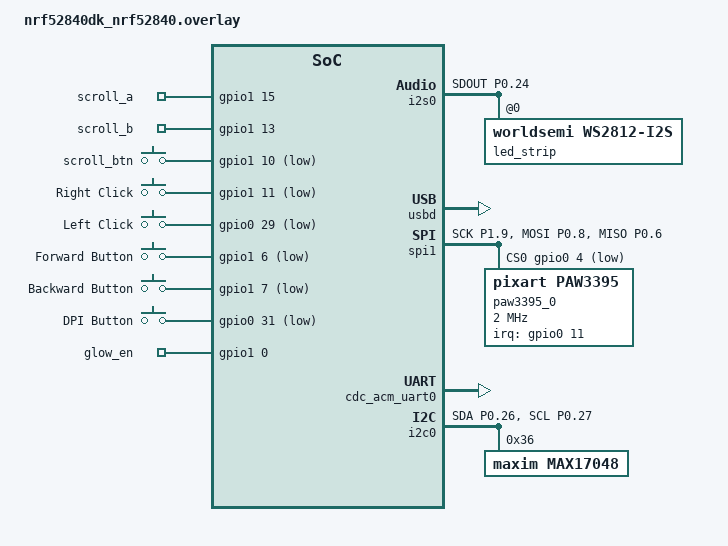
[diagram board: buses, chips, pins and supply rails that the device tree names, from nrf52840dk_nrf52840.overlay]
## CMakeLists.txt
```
# SPDX-License-Identifier: Apache-2.0

cmake_minimum_required(VERSION 3.20.0)

list(APPEND EXTRA_ZEPHYR_MODULES
  ${CMAKE_CURRENT_SOURCE_DIR}/../paw3395
)

find_package(Zephyr REQUIRED HINTS $ENV{ZEPHYR_BASE})
project(mouseg)

FILE(GLOB app_sources src/*.c)
target_sources(app PRIVATE
  ${app_sources}
  )

list(APPEND EXTRA_ZEPHYR_MODULES ${CMAKE_CURRENT_SOURCE_DIR}/paw3395 )
```

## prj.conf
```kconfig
CONFIG_FLASH=y
CONFIG_FLASH_PAGE_LAYOUT=y
CONFIG_FLASH_MAP=y
CONFIG_NVS=y
CONFIG_SETTINGS=y

CONFIG_SPI=y
CONFIG_SENSOR=y
CONFIG_PAW3395=y

# Debugging & logging
CONFIG_DEBUG=y
CONFIG_DEBUG_INFO=y
CONFIG_DEBUG_THREAD_INFO=y
CONFIG_RESET_ON_FATAL_ERROR=n
CONFIG_LOG=y
CONFIG_LOG_MODE_DEFERRED=y
CONFIG_LOG_DEFAULT_LEVEL=3
CONFIG_GPIO=y

CONFIG_SERIAL=y
CONFIG_CONSOLE=y
CONFIG_LED_STRIP=y

# ===== UNCOMMENT BELOW CONFIG FOR UF2 =====
# CONFIG_BUILD_OUTPUT_UF2=y
# CONFIG_BUILD_OUTPUT_UF2_FAMILY_ID="0xADA52840"
# CONFIG_ROM_START_OFFSET=0x1000

# Fuel Gauge Battery %
CONFIG_FUEL_GAUGE=y
CONFIG_I2C=y
CONFIG_MAX17048=y

# USB HID
CONFIG_USB_DEVICE_STACK=y
CONFIG_USB_DEVICE_HID=y
CONFIG_USB_DEVICE_PRODUCT="W Mouse USB"
CONFIG_USB_DEVICE_PID=0x0007
CONFIG_USB_DEVICE_INITIALIZE_AT_BOOT=n

# Enable composite device
CONFIG_USB_COMPOSITE_DEVICE=y


# BT general configuration
CONFIG_BT=y
# CONFIG_BT_LL_SW_SPLIT=y
# CONFIG_BT_DEBUG_LOG=n
CONFIG_BT_KEYS_OVERWRITE_OLDEST=y
CONFIG_BT_SMP_ALLOW_UNAUTH_OVERWRITE=y
CONFIG_BT_GATT_SERVICE_CHANGED=n
CONFIG_BT_LIM_ADV_TIMEOUT=180
CONFIG_BT_SMP=y
CONFIG_BT_L2CAP_TX_BUF_COUNT=2
CONFIG_BT_PERIPHERAL=y
CONFIG_BT_DEVICE_NAME="W Mouse BLE"
CONFIG_BT_DEVICE_APPEARANCE=962
CONFIG_BT_PERIPHERAL_PREF_MIN_INT=6    
CONFIG_BT_PERIPHERAL_PREF_MAX_INT=7    
CONFIG_BT_PERIPHERAL_PREF_LATENCY=0   
CONFIG_BT_PERIPHERAL_PREF_TIMEOUT=400
CONFIG_BT_GAP_AUTO_UPDATE_CONN_PARAMS=y

# Zephyr BT Services implemented
CONFIG_BT_BAS=y
CONFIG_BT_DIS=y
CONFIG_BT_DIS_PNP=n
CONFIG_BT_DIS_MODEL="W Mouse BLE"
CONFIG_BT_DIS_MANUF="UNBYTES"
CONFIG_BT_DIS_SERIAL_NUMBER=y
CONFIG_BT_DIS_SERIAL_NUMBER_STR="0xEAEAEAEA"

# BT Bonding configuration
CONFIG_BT_SETTINGS=y
CONFIG_BT_BONDABLE=y
CONFIG_BT_SETTINGS_CCC_STORE_ON_WRITE=y
CONFIG_BT_SETTINGS_CCC_LAZY_LOADING=n
```

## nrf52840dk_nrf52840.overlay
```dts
/ {
    aliases {
        scrolla = &scroll_a;
        scrollb = &scroll_b;
        scrollbtn = &scroll_btn;
        ledstrip = &led_strip;
        sw0 = &left_button;
        sw1 = &right_button;
        sw2 = &forward_button; // not connected on the PCB
        sw3 = &backward_button; // not connected on the PCB
        dpi-btn = &dpi_button;
        fuel-gauge0 = &max17048;
        glow-en = &glow_en;
    };

    
    buttons {
        compatible = "gpio-keys";
        status = "okay";
        
        scroll_a: scroll_a {
            gpios = <&gpio1 15 (GPIO_ACTIVE_HIGH | GPIO_PULL_UP)>;
        };
        scroll_b: scroll_b {
            gpios = <&gpio1 13 (GPIO_ACTIVE_HIGH | GPIO_PULL_UP)>;
        };
        scroll_btn: scroll_btn {
            gpios = <&gpio1 10 (GPIO_ACTIVE_LOW | GPIO_PULL_UP)>;
        };
        right_button: right_button {
            gpios = <&gpio1 11 (GPIO_ACTIVE_LOW | GPIO_PULL_UP)>;
            label = "Right Click";
        };
        left_button: left_button {
            gpios = <&gpio0 29 (GPIO_ACTIVE_LOW | GPIO_PULL_UP)>;
            label = "Left Click";
        };
        forward_button: forward_button {
            gpios = <&gpio1 6 (GPIO_ACTIVE_LOW | GPIO_PULL_UP)>;
            label = "Forward Button";
            // this button is not connected on the PCB
        };
        backward_button: backward_button {
            gpios = <&gpio1 7 (GPIO_ACTIVE_LOW | GPIO_PULL_UP)>;
            label = "Backward Button";
            // this button is not connected on the PCB
        };
        dpi_button: dpi_button {
            gpios = <&gpio0 31 (GPIO_ACTIVE_LOW | GPIO_PULL_UP)>;
            label = "DPI Button";
        };
    };    

    output {
        compatible = "gpio-leds";
        status = "okay";

        glow_en: glow_en {
            gpios = <&gpio1 0 GPIO_ACTIVE_HIGH>;
        };
    };

    id_dev_0: hid_dev_0 {
		compatible = "zephyr,hid-device";
		label = "HID0";
		protocol-code = "none";
		in-polling-period-us = <125>;
		in-report-size = <64>;
	};

	chosen {
		zephyr,console = &cdc_acm_uart0;
	};
};

&i2s0 {
    status = "okay";
    pinctrl-0 = <&i2s0_default_alt>;
	pinctrl-names = "default";
    // Additional I2S configuration as needed
    led_strip: ws2812@0 {
        compatible = "worldsemi,ws2812-i2s";
        reg = <0>;
        chain-length = <5>;         
        color-mapping = <1 0 2>;    
        reset-delay = <120>;      
        i2s-dev = <&i2s0>;     
    };
};

&gpio0 {
    status = "okay";
};

&gpio1 {
    status = "okay";
};

&usbd {
    status = "okay";
};

&spi1 {
    compatible = "nordic,nrf-spim";
    status = "okay";
    pinctrl-0 = <&spi1_default>;
    pinctrl-1 = <&spi1_sleep>;
    pinctrl-names = "default", "sleep";
    cs-gpios = <&gpio0 4 GPIO_ACTIVE_LOW>;
    paw3395_0: paw3395@0 {
        compatible = "pixart,paw3395";
        reg = <0>;
        irq-gpios = <&gpio0 11 GPIO_ACTIVE_HIGH>;
        spi-max-frequency = <2000000>;
    };
};

&zephyr_udc0 {
	cdc_acm_uart0: cdc_acm_uart0 {
		compatible = "zephyr,cdc-acm-uart";
	};
};

&i2c0 {
	status = "okay";
	compatible = "nordic,nrf-twim";
	pinctrl-0 = <&i2c0_default>;
	pinctrl-1 = <&i2c0_sleep>;
	pinctrl-names = "default", "sleep";
	max17048:max17048@36 {
		compatible = "maxim,max17048";
		status = "ok";
		reg = <0x36 >;
	};
};

&pinctrl {
    i2s0_default_alt: i2s0_default_alt {
		group1 {
			psels = <NRF_PSEL(I2S_SDOUT, 0, 24)>; // GLOW_LV
		};
	};
	spi1_default: spi1_default {
        group1 {
            psels = <NRF_PSEL(SPIM_SCK, 1, 9)>, 
                    <NRF_PSEL(SPIM_MOSI, 0, 8)>,
                    <NRF_PSEL(SPIM_MISO, 0, 6)>;
            };
    };
    spi1_sleep: spi1_sleep {
        group1 {
            psels = <NRF_PSEL(SPIM_SCK, 1, 9)>,
                    <NRF_PSEL(SPIM_MOSI, 0, 8)>,
                    <NRF_PSEL(SPIM_MISO, 0, 6)>;
            low-power-enable;
        };
    };
	i2c0_default: i2c0_default {
		group1 {
			psels = <NRF_PSEL(TWIM_SDA, 0, 26)>, <NRF_PSEL(TWIM_SCL, 0, 27)>;
		};
	};

	i2c0_sleep: i2c0_sleep {
		group1 {
			psels = <NRF_PSEL(TWIM_SDA, 0, 26)>, <NRF_PSEL(TWIM_SCL, 0, 27)>;
			low-power-enable;
		};
	};
};
```

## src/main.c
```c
#include <zephyr/kernel.h>
#include <zephyr/sys/printk.h>
#include <zephyr/usb/usb_device.h>
#include <zephyr/drivers/uart.h>
#include <math.h>

#include "business_logic.h"

LOG_MODULE_REGISTER(main, LOG_LEVEL_DBG);

BUILD_ASSERT(DT_NODE_HAS_COMPAT(DT_CHOSEN(zephyr_console), zephyr_cdc_acm_uart),
			 "Console device is not ACM CDC UART device");

int usb_console(void)
{
	const struct device *const dev = DEVICE_DT_GET(DT_CHOSEN(zephyr_console));
	uint32_t dtr = 0;

	if (usb_enable(NULL))
	{
		return 0;
	}

	/* Poll if the DTR flag was set */
	while (!dtr)
	{
		uart_line_ctrl_get(dev, UART_LINE_CTRL_DTR, &dtr);
		/* Give CPU resources to low priority threads. */
		k_sleep(K_MSEC(100));
	}

	return 0;
}

int main(void)
{

	polling_init();

	while (1)
	{
		polling_run();
	}

	return 0;
}
```

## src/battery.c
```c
// src/battery.c
#include <zephyr/kernel.h>
#include <zephyr/device.h>
#include <zephyr/devicetree.h>
#include <zephyr/drivers/fuel_gauge.h>
#include <zephyr/logging/log.h>
#include "battery.h"

LOG_MODULE_REGISTER(battery, CONFIG_LOG_DEFAULT_LEVEL);

static const struct device *battery_dev;

int battery_init(void)
{
	battery_dev = DEVICE_DT_GET(DT_ALIAS(fuel_gauge0));

	if (!device_is_ready(battery_dev)) {
		LOG_ERR("Fuel gauge device not ready");
		return -ENODEV;
	}

	LOG_INF("Fuel gauge ready: %s", battery_dev->name);
	return 0;
}

int battery_get_percentage(int *percentage)
{
	if (battery_dev == NULL || !device_is_ready(battery_dev)) {
		return -ENODEV;
	}

	fuel_gauge_prop_t prop = FUEL_GAUGE_RELATIVE_STATE_OF_CHARGE;
	union fuel_gauge_prop_val val;

	int ret = fuel_gauge_get_props(battery_dev, &prop, &val, 1);
	if (ret < 0) {
		LOG_ERR("Failed to read battery voltage: %d", ret);
		return ret;
	}

	*percentage = val.relative_state_of_charge;
	return 0;
}
```

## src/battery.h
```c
// include/battery.h
#ifndef BATTERY_H
#define BATTERY_H

int battery_init(void);
int battery_get_percentage(int *percentage);

#endif // BATTERY_H
```

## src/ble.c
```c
#include <zephyr/types.h>
#include <stddef.h>
#include <string.h>
#include <errno.h>
#include <zephyr/sys/printk.h>
#include <zephyr/sys/byteorder.h>
#include <zephyr/kernel.h>
#include <zephyr/drivers/gpio.h>
#include <soc.h>
#include <assert.h>

#include <zephyr/settings/settings.h>

#include <zephyr/bluetooth/bluetooth.h>
#include <zephyr/bluetooth/hci.h>
#include <zephyr/bluetooth/conn.h>
#include <zephyr/bluetooth/uuid.h>
#include <zephyr/bluetooth/gatt.h>

#include "ble_hids.h"

#define DEVICE_NAME CONFIG_BT_DEVICE_NAME
#define DEVICE_NAME_LEN (sizeof(DEVICE_NAME) - 1)

#define BT_ADV_INT_MIN 48 /* 0.625ms units --> 30ms */
#define BT_ADV_INT_MAX 80 /* 0.625ms units --> 50ms */

/* Advertising Data */
static const struct bt_data ad[] = {

    /* Appearance */
    BT_DATA_BYTES(BT_DATA_GAP_APPEARANCE,
                  (CONFIG_BT_DEVICE_APPEARANCE >> 0) & 0xff,
                  (CONFIG_BT_DEVICE_APPEARANCE >> 8) & 0xff),

    /* Flags */
    BT_DATA_BYTES(BT_DATA_FLAGS, (BT_LE_AD_LIMITED | BT_LE_AD_NO_BREDR)),

    /* List of UUID16 Services Implemented */
    BT_DATA_BYTES(BT_DATA_UUID16_ALL, BT_UUID_16_ENCODE(BT_UUID_HIDS_VAL),
                  BT_UUID_16_ENCODE(BT_UUID_BAS_VAL),
                  BT_UUID_16_ENCODE(BT_UUID_DIS_VAL)),
};

/* Scan Response Data */
static const struct bt_data sd[] = {
    BT_DATA(BT_DATA_NAME_COMPLETE, DEVICE_NAME, DEVICE_NAME_LEN),
};

static struct k_work adv_work;

static bt_addr_le_t bonded_addr;
static bool bonded_addr_present;

static bool dir_adv_timeout;
static bool is_connected;
static int64_t last_advertising_start_ms;

bool ble_is_connected(void)
{
    return is_connected;
}

static void s_bonded_addr_cache(const struct bt_bond_info *info, void *user_data)
{
    memcpy(&bonded_addr, &info->addr, sizeof(bt_addr_le_t));
    bonded_addr_present = true;
}

static void s_advertising_start(void)
{
    /* NOTE: only one paired device is supported, so the function passed as argument is invoked once at most */
    bt_foreach_bond(BT_ID_DEFAULT, s_bonded_addr_cache, NULL);
    k_work_submit(&adv_work);
}

static void s_advertising_exec(void)
{
    int err = 0;
    struct bt_le_adv_param adv_param;

    /* Directed advertising if bonding is present and we did not already timed out */
    if ((bonded_addr_present) && (!dir_adv_timeout))
    {
        char addr_buf[BT_ADDR_LE_STR_LEN];

        adv_param = *BT_LE_ADV_CONN_DIR(&bonded_addr);
        adv_param.options |= BT_LE_ADV_OPT_DIR_ADDR_RPA;

        err = bt_le_adv_start(&adv_param, NULL, 0, NULL, 0);
        if (err)
        {
            printk("Directed advertising failed to start (err %d)\n", err);
            return;
        }

        bt_addr_le_to_str(&bonded_addr, addr_buf, BT_ADDR_LE_STR_LEN);
        printk("Direct advertising to %s started\n", addr_buf);
    }
    /* Regular advertising if no bonding is present */
    else
    {
        adv_param = *BT_LE_ADV_CONN;
        adv_param.interval_min = BT_ADV_INT_MIN;
        adv_param.interval_max = BT_ADV_INT_MAX;
        adv_param.options |= BT_LE_ADV_OPT_ONE_TIME | BT_LE_ADV_OPT_SCANNABLE;

        err = bt_le_adv_start(&adv_param, ad, ARRAY_SIZE(ad), sd, ARRAY_SIZE(sd));
        if (err)
        {
            printk("Advertising failed to start (err %d)\n", err);
            return;
        }

        printk("Regular advertising started\n");
    }

    if (err == 0)
    {
        /* Cache last start of advertising */
        last_advertising_start_ms = k_uptime_get();
    }
}

static void s_advertising_process(struct k_work *work)
{
    s_advertising_exec();
}

static void s_connected(struct bt_conn *conn, uint8_t err)
{
    char addr[BT_ADDR_LE_STR_LEN];

    bt_addr_le_to_str(bt_conn_get_dst(conn), addr, sizeof(addr));

    if (err)
    {
        if (err == BT_HCI_ERR_ADV_TIMEOUT)
        {
            printk("Direct advertising to %s timed out\n", addr);
            dir_adv_timeout = true;
            k_work_submit(&adv_work);
        }
        else
        {
            printk("Failed to connect to %s (%u)\n", addr, err);
        }

        return;
    }

    printk("Connected %s\n", addr);

    is_connected = true;
    dir_adv_timeout = false;
    last_advertising_start_ms = 0;

    /* Inform HID Service */
    ble_hids_connected(conn);
}

static void s_disconnected(struct bt_conn *conn, uint8_t reason)
{
    char addr[BT_ADDR_LE_STR_LEN];

    bt_addr_le_to_str(bt_conn_get_dst(conn), addr, sizeof(addr));

    printk("Disconnected from %s (reason %u)\n", addr, reason);

    /* Inform HID Service */
    ble_hids_disconnected();

    is_connected = false;

    /* Re-start advertising */
    s_advertising_start();
}

static void s_security_changed(struct bt_conn *conn, bt_security_t level,
                               enum bt_security_err err)
{
    char addr[BT_ADDR_LE_STR_LEN];

    bt_addr_le_to_str(bt_conn_get_dst(conn), addr, sizeof(addr));

    if (!err)
    {
        printk("Security changed: %s level %u\n", addr, level);
    }
    else
    {
        printk("Security failed: %s level %u err %d\n", addr, level, err);
    }
}

static void s_conn_params_updated(struct bt_conn *conn, uint16_t interval,
                                  uint16_t latency, uint16_t timeout)
{
    struct bt_conn_info info;
    bt_conn_get_info(conn, &info);

    printk("Conn params updated, interval: %u, latency: %u, timeout: %u\n",
           info.le.interval, info.le.latency, info.le.timeout);
}

BT_CONN_CB_DEFINE(conn_callbacks) = {
    .connected = s_connected,
    .disconnected = s_disconnected,
    .security_changed = s_security_changed,
    .le_param_updated = s_conn_params_updated};

static void s_pairing_complete(struct bt_conn *conn, bool bonded)
{
    char addr[BT_ADDR_LE_STR_LEN];
    bt_addr_le_to_str(bt_conn_get_dst(conn), addr, sizeof(addr));

    printk("Pairing completed: %s, bonded: %d\n", addr, bonded);
}

static void s_pairing_failed(struct bt_conn *conn, enum bt_security_err reason)
{
    char addr[BT_ADDR_LE_STR_LEN];
    bt_addr_le_to_str(bt_conn_get_dst(conn), addr, sizeof(addr));

    printk("Pairing failed conn: %s, reason %d\n", addr, reason);
}

static struct bt_conn_auth_info_cb conn_auth_info_callbacks = {
    .pairing_complete = s_pairing_complete,
    .pairing_failed = s_pairing_failed};

void ble_init(void)
{
    int err;

    printk("Starting ble application\n");

    err = bt_conn_auth_info_cb_register(&conn_auth_info_callbacks);
    if (err)
    {
        printk("Failed to register authorization info callbacks.\n");
        return;
    }

    err = bt_enable(NULL);
    if (err)
    {
        printk("Bluetooth init failed (err %d)\n", err);
        return;
    }

    printk("Bluetooth initialized\n");

    if (IS_ENABLED(CONFIG_SETTINGS))
    {
        settings_load();
    }

    /* Init workqueue item to help during advertising */
    k_work_init(&adv_work, s_advertising_process);

    /* Immediately request advertising to start */
    s_advertising_start();
}
```

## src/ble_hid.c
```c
/* ble_hid.c - advertising resume fixes + existing HID */

#include "ble_hid.h"
#include <zephyr/bluetooth/uuid.h>
#include <zephyr/bluetooth/gatt.h>
#include <string.h>
#include <zephyr/kernel.h>
#include <zephyr/logging/log.h>
#include <zephyr/bluetooth/bluetooth.h>
#include <zephyr/bluetooth/hci.h>
#include <zephyr/settings/settings.h>

LOG_MODULE_REGISTER(ble_hid, LOG_LEVEL_DBG);

#ifndef DEVICE_NAME
#define DEVICE_NAME CONFIG_BT_DEVICE_NAME
#endif

#define DEVICE_NAME_LEN (sizeof(DEVICE_NAME) - 1)

/* HID Report Descriptor (Mouse) */
static const uint8_t hid_report_map[] = {
    0x05, 0x01,  // Usage Page (Generic Desktop)
    0x09, 0x02,  // Usage (Mouse)
    0xA1, 0x01,  // Collection (Application)
    0x09, 0x01,  //   Usage (Pointer)
    0xA1, 0x00,  //   Collection (Physical)
    0x05, 0x09,  //     Usage Page (Buttons)
    0x19, 0x01,  //     Usage Minimum (01)
    0x29, 0x05,  //     Usage Maximum (05)
    0x15, 0x00,  //     Logical Minimum (0)
    0x25, 0x01,  //     Logical Maximum (1)
    0x95, 0x05,  //     Report Count (5)
    0x75, 0x01,  //     Report Size (1)
    0x81, 0x02,  //     Input (Data, Var, Abs)
    0x95, 0x01,  //     Report Count (1)
    0x75, 0x03,  //     Report Size (3)
    0x81, 0x03,  //     Input (Const, Var, Abs)
    0x05, 0x01,  //     Usage Page (Generic Desktop)
    0x09, 0x30,  //     Usage (X)
    0x09, 0x31,  //     Usage (Y)
    0x15, 0x81,  //     Logical Minimum (-127)
    0x25, 0x7F,  //     Logical Maximum (127)
    0x75, 0x08,  //     Report Size (8)
    0x95, 0x02,  //     Report Count (2)
    0x81, 0x06,  //     Input (Data, Var, Rel)
    0x09, 0x38,  //     Usage (Wheel)
    0x15, 0x81,  //     Logical Minimum (-127)
    0x25, 0x7F,  //     Logical Maximum (127)
    0x75, 0x08,  //     Report Size (8)
    0x95, 0x01,  //     Report Count (1)
    0x81, 0x06,  //     Input (Data, Var, Rel)
    0xC0,        //   End Collection
    0xC0         // End Collection
};

struct mouse_report {
    uint8_t buttons;
    int8_t x;
    int8_t y;
    int8_t wheel;
} __packed;

static struct mouse_report report;

/* Boot Mouse Input Report (boot protocol uses buttons,x,y only) */
struct boot_mouse_input_report {
    uint8_t buttons;
    int8_t x;
    int8_t y;
} __packed;
static struct boot_mouse_input_report boot_report;

static struct bt_conn *conn_handle;

/* Read handler for Report Map (existing) */
static ssize_t read_report_map(struct bt_conn *conn,
                               const struct bt_gatt_attr *attr, void *buf,
                               uint16_t len, uint16_t offset)
{
    return bt_gatt_attr_read(conn, attr, buf, len, offset,
                             hid_report_map, sizeof(hid_report_map));
}

/* ----------------- HID additions (kept) ----------------- */

/* HID Information */
static const uint8_t hid_info[] = { 0x11, 0x01, 0x00, 0x02 }; /* bcdHID 1.11, country 0, flags */
static ssize_t read_hid_info(struct bt_conn *conn, const struct bt_gatt_attr *attr,
                             void *buf, uint16_t len, uint16_t offset)
{
    return bt_gatt_attr_read(conn, attr, buf, len, offset, hid_info, sizeof(hid_info));
}

/* Protocol Mode */
static uint8_t protocol_mode = 1;
static ssize_t read_protocol_mode(struct bt_conn *conn, const struct bt_gatt_attr *attr,
                                  void *buf, uint16_t len, uint16_t offset)
{
    return bt_gatt_attr_read(conn, attr, buf, len, offset, &protocol_mode, sizeof(protocol_mode));
}
static ssize_t write_protocol_mode(struct bt_conn *conn, const struct bt_gatt_attr *attr,
                                   const void *buf, uint16_t len, uint16_t offset, uint8_t flags)
{
    if (len != 1) {
        return BT_GATT_ERR(BT_ATT_ERR_INVALID_ATTRIBUTE_LEN);
    }
    protocol_mode = *((const uint8_t *)buf);
    LOG_DBG("Protocol Mode set to %u", protocol_mode);
    return len;
}

/* HID Control Point */
static ssize_t write_hid_control_point(struct bt_conn *conn, const struct bt_gatt_attr *attr,
                                       const void *buf, uint16_t len, uint16_t offset, uint8_t flags)
{
    if (len != 1) {
        return BT_GATT_ERR(BT_ATT_ERR_INVALID_ATTRIBUTE_LEN);
    }
    uint8_t val = *((const uint8_t *)buf);
    LOG_DBG("HID Control Point write: %u", val);
    return len;
}

/* HID Service Declaration (with added HID characteristics) */
BT_GATT_SERVICE_DEFINE(hid_svc,
    BT_GATT_PRIMARY_SERVICE(BT_UUID_DECLARE_16(0x1812)),

    /* HID Information */
    BT_GATT_CHARACTERISTIC(BT_UUID_DECLARE_16(0x2A4A),
        BT_GATT_CHRC_READ, BT_GATT_PERM_READ, read_hid_info, NULL, NULL),

    /* HID Control Point */
    BT_GATT_CHARACTERISTIC(BT_UUID_DECLARE_16(0x2A4C),
        BT_GATT_CHRC_WRITE_WITHOUT_RESP, BT_GATT_PERM_WRITE, NULL, write_hid_control_point, NULL),

    /* Protocol Mode */
    BT_GATT_CHARACTERISTIC(BT_UUID_DECLARE_16(0x2A4E),
        BT_GATT_CHRC_READ | BT_GATT_CHRC_WRITE_WITHOUT_RESP,
        BT_GATT_PERM_READ | BT_GATT_PERM_WRITE,
        read_protocol_mode, write_protocol_mode, &protocol_mode),

    /* Report Map */
    BT_GATT_CHARACTERISTIC(BT_UUID_DECLARE_16(0x2A4B),
        BT_GATT_CHRC_READ, BT_GATT_PERM_READ, read_report_map, NULL, NULL),

    /* Boot Mouse Input Report */
    BT_GATT_CHARACTERISTIC(BT_UUID_DECLARE_16(0x2A33),
        BT_GATT_CHRC_READ | BT_GATT_CHRC_NOTIFY,
        BT_GATT_PERM_READ, NULL, NULL, &boot_report),
    BT_GATT_CCC(NULL, BT_GATT_PERM_READ | BT_GATT_PERM_WRITE),

    /* Normal Report */
    BT_GATT_CHARACTERISTIC(BT_UUID_DECLARE_16(0x2A4D),
        BT_GATT_CHRC_READ | BT_GATT_CHRC_NOTIFY,
        BT_GATT_PERM_READ, NULL, NULL, &report),
    BT_GATT_CCC(NULL, BT_GATT_PERM_READ | BT_GATT_PERM_WRITE)
);

/* ----------------- Advertising helper (ADV ADD) ----------------- */

/* advertising payloads (keep as constants) */
static const uint8_t ad_flags[] = { BT_LE_AD_GENERAL | BT_LE_AD_NO_BREDR };
static const uint8_t hid_uuid[] = { 0x12, 0x18 }; /* HID Service UUID 0x1812, little-endian */
static const struct bt_data ad[] = {
    BT_DATA(BT_DATA_FLAGS, ad_flags, sizeof(ad_flags)),
    BT_DATA(BT_DATA_UUID16_ALL, hid_uuid, sizeof(hid_uuid)),
};
/* scan/adv data (name) */
static const struct bt_data sd[] = {
    BT_DATA(BT_DATA_NAME_COMPLETE, DEVICE_NAME, DEVICE_NAME_LEN),
};

/* Start advertising with safe stop/retry logic
 * [ADV ADD] stops any existing advertising first, sleeps a little, then starts.
 * If start returns -ENOMEM (-12), try stopping and retry once.
 */
static int start_advertising(void)
{
    int err;

    /* Ensure advertising stopped first to avoid duplicate instances */
    (void)bt_le_adv_stop();

    /* small gap to let controller settle */
    k_sleep(K_MSEC(50));

    err = bt_le_adv_start(BT_LE_ADV_CONN, ad, ARRAY_SIZE(ad), sd, ARRAY_SIZE(sd));
    if (err) {
        LOG_ERR("bt_le_adv_start failed (err %d). Attempting stop+retry", err);
        /* Try again after explicitly stopping and small delay */
        (void)bt_le_adv_stop();
        k_sleep(K_MSEC(100));
        err = bt_le_adv_start(BT_LE_ADV_CONN, ad, ARRAY_SIZE(ad), sd, ARRAY_SIZE(sd));
        if (err) {
            LOG_ERR("bt_le_adv_start retry failed (err %d)", err);
            return err;
        }
    }

    LOG_INF("Advertising successfully started");
    return 0;
}

/* ----------------- Connection handling ----------------- */

static void connected(struct bt_conn *conn, uint8_t err)
{
    if (err) {
        LOG_ERR("Connection failed (err %u)", err);
        return;
    }

    conn_handle = bt_conn_ref(conn);
    LOG_INF("Connected");
}

static void disconnected(struct bt_conn *conn, uint8_t reason)
{
    LOG_INF("Disconnected (reason 0x%02x)", reason);

    if (conn_handle) {
        bt_conn_unref(conn_handle);
        conn_handle = NULL;
    }

    /* [ADV ADD] Resume advertising cleanly after disconnect */
    start_advertising();
}

static struct bt_conn_cb conn_callbacks = {
    .connected = connected,
    .disconnected = disconnected,
};

static void bt_ready(int err)
{
    if (err) {
        LOG_ERR("Bluetooth init failed (err %d)", err);
        return;
    }

    LOG_INF("Bluetooth initialized");

    /* [ADV ADD] register connection callbacks (safe to call even if already registered) */
    bt_conn_cb_register(&conn_callbacks);

    /* [ADV ADD] start advertising using helper (handles stop/retry) */
    start_advertising();
}

int ble_hid_init(void)
{
    int err = bt_enable(NULL);
    if (err) {
        LOG_ERR("bt_enable failed (err %d)", err);
        return -1;
    }

#if defined(CONFIG_BT_SETTINGS)
    settings_load();
#endif

    bt_ready(0);

    return 0;
}

/* Send mouse report (normal) */
int ble_hid_mouse_report(uint8_t buttons, int8_t dx, int8_t dy, int8_t wheel, uint8_t battery)
{
    if (!conn_handle) {
        return -ENOTCONN;
    }

    report.buttons = buttons;
    report.x = dx;
    report.y = dy;
    report.wheel = wheel;

    /* Note: attr index 8 corresponds to the Report characteristic in this layout.
     * If you change the GATT layout, update this index or use attr lookup.
     */
    return bt_gatt_notify(conn_handle, &hid_svc.attrs[8], &report, sizeof(report));
}
```

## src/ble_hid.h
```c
#ifndef BLE_HID_H
#define BLE_HID_H

#include <zephyr/kernel.h>
#include <zephyr/bluetooth/bluetooth.h>

#define MOUSE_BTN_LEFT     0x01
#define MOUSE_BTN_RIGHT    0x02
#define MOUSE_BTN_MIDDLE   0x04
#define MOUSE_BTN_FORWARD  0x08
#define MOUSE_BTN_BACKWARD 0x10

int ble_hid_init(void);
int ble_hid_mouse_report(uint8_t buttons, int8_t dx, int8_t dy, int8_t wheel, uint8_t battery);

#endif // BLE_HID_H
```

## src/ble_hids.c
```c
#include <zephyr/types.h>
#include <stddef.h>
#include <string.h>
#include <errno.h>
#include <zephyr/sys/byteorder.h>
// #include <zephyr/>

#include <zephyr/bluetooth/bluetooth.h>
#include <zephyr/bluetooth/hci.h>
#include <zephyr/bluetooth/conn.h>
#include <zephyr/bluetooth/uuid.h>
#include <zephyr/bluetooth/gatt.h>

#include "ble_hids.h"

#define REPORT_MOUSE_SIZE sizeof(ble_hids_report_mouse_t)
#define BOOT_REPORT_MOUSE_SIZE sizeof(ble_hids_report_mouse_boot_t)

enum
{
    HIDS_REPORT_ID_MOUSE = 0x01,
};
typedef uint8_t hids_report_id_t;

/* HIDS Info flags */
enum
{
    HIDS_REMOTE_WAKE = BIT(0),
    HIDS_NORMALLY_CONNECTABLE = BIT(1),
};

/* Control Point possible values */
enum
{
    HIDS_CONTROL_POINT_SUSPEND = 0x00,
    HIDS_CONTROL_POINT_EXIT_SUSPEND = 0x01,

    HIDS_CONTROL_POINT_N
};
typedef uint8_t hids_ctrl_point_t;

/* HID Information Characteristic value */
typedef struct
{
    uint16_t version; /* version number of base USB HID Specification */
    uint8_t code;     /* country HID Device hardware is localized for. */
    uint8_t flags;

} __packed hids_info_t;

/* Type of reports */
enum
{
    HIDS_REPORT_INPUT = 0x01,
    HIDS_REPORT_OUTPUT = 0x02,
    HIDS_REPORT_FEATURE = 0x03,
};
typedef uint8_t hids_report_type_t;

/* HID Report Characteristic Descriptor */
typedef struct
{
    uint8_t id;              /* report id */
    hids_report_type_t type; /* report type */

} __packed hids_report_desc_t;

typedef struct
{
    uint8_t *const report_ref;
    uint8_t report_len;

} hids_report_info_t;

static const hids_info_t hids_info =
    {
        .version = 0x0101,
        .code = 0x00,
        .flags = HIDS_NORMALLY_CONNECTABLE,
};

/* Reports descriptors (read-only) */
static const hids_report_desc_t mse_input_desc =
    {
        .id = HIDS_REPORT_ID_MOUSE,
        .type = HIDS_REPORT_INPUT,
};

/* Module working data */
static struct bt_conn *active_conn;

/* Characteristics and descriptors cached values */
static bool mse_input_rep_notif_enabled;
static bool mse_boot_input_rep_notif_enabled;

static hids_ctrl_point_t ctrl_point;
static ble_hids_prot_mode_t prot_mode;
static uint8_t mse_input_report[REPORT_MOUSE_SIZE];
static uint8_t mse_boot_input_report[BOOT_REPORT_MOUSE_SIZE];

/* Report map */
static const uint8_t report_map[] = {
    /* MOUSE INPUT REPORT MAP */
    0x05, 0x01,                 // Usage Page (Generic Desktop Ctrls)
    0x09, 0x02,                 // Usage (Mouse)
    0xA1, 0x01,                 // Collection (Application)
    0x85, HIDS_REPORT_ID_MOUSE, //   Report ID (1)
    0x09, 0x01,                 //   Usage (Pointer)
    0xA1, 0x00,                 //   Collection (Physical)

    // Buttons
    0x95, 0x05, //     Report Count (5 buttons)
    0x75, 0x01, //     Report Size (1)
    0x15, 0x00, //     Logical Minimum (0)
    0x25, 0x01, //     Logical Maximum (1)
    0x05, 0x09, //     Usage Page (Button)
    0x19, 0x01, //     Usage Minimum (Button 1)
    0x29, 0x05, //     Usage Maximum (Button 5)
    0x81, 0x02, //     Input (Data,Var,Abs)

    // Padding
    0x95, 0x01, //     Report Count (1)
    0x75, 0x03, //     Report Size (3 bits padding)
    0x81, 0x03, //     Input (Cnst,Var,Abs)

    // X, Y
    0x05, 0x01,       //     Usage Page (Generic Desktop Ctrls)
    0x16, 0x00, 0x80, //     Logical Minimum (-32768)
    0x26, 0xFF, 0x7F, //     Logical Maximum (32767)
    0x75, 0x10,       //     Report Size (16)
    0x95, 0x02,       //     Report Count (2)
    0x09, 0x30,       //     Usage (X)
    0x09, 0x31,       //     Usage (Y)
    0x81, 0x06,       //     Input (Data,Var,Rel)

    // Wheel
    0x15, 0x81, //     Logical Minimum (-127)
    0x25, 0x7F, //     Logical Maximum (127)
    0x75, 0x08, //     Report Size (8)
    0x95, 0x01, //     Report Count (1)
    0x09, 0x38, //     Usage (Wheel)
    0x81, 0x06, //     Input (Data,Var,Rel)

    0xC0, //   End Collection
    0xC0, // End Collection
};

static const hids_report_info_t mse_input_rep_info =
    {
        .report_ref = mse_input_report,
        .report_len = sizeof(mse_input_report)};

static const hids_report_info_t mse_boot_input_rep_info =
    {
        .report_ref = mse_boot_input_report,
        .report_len = sizeof(mse_boot_input_report)};

/*
** --------------------------------------------------------
** Private Functions
** --------------------------------------------------------
*/

static ssize_t s_read_info(struct bt_conn *conn,
                           const struct bt_gatt_attr *attr, void *buf,
                           uint16_t len, uint16_t offset)
{
    return bt_gatt_attr_read(conn, attr, buf, len, offset, &hids_info, sizeof(hids_info_t));
}

static ssize_t s_read_report_map(struct bt_conn *conn,
                                 const struct bt_gatt_attr *attr, void *buf,
                                 uint16_t len, uint16_t offset)
{
    return bt_gatt_attr_read(conn, attr, buf, len, offset, report_map, sizeof(report_map));
}

static ssize_t s_read_report(struct bt_conn *conn,
                             const struct bt_gatt_attr *attr, void *buf,
                             uint16_t len, uint16_t offset)
{
    const hids_report_info_t *rep_info_ref = (const hids_report_info_t *)attr->user_data;
    return bt_gatt_attr_read(conn, attr, buf, len, offset, rep_info_ref->report_ref, rep_info_ref->report_len);
}

static ssize_t s_read_prot_mode(struct bt_conn *conn,
                                const struct bt_gatt_attr *attr, void *buf,
                                uint16_t len, uint16_t offset)
{
    return bt_gatt_attr_read(conn, attr, buf, len, offset, &prot_mode, sizeof(prot_mode));
}

static ssize_t s_read_report_desc(struct bt_conn *conn,
                                  const struct bt_gatt_attr *attr, void *buf,
                                  uint16_t len, uint16_t offset)
{
    return bt_gatt_attr_read(conn, attr, buf, len, offset, attr->user_data, sizeof(hids_report_desc_t));
}

static void s_mse_boot_input_rep_ccc_changed(const struct bt_gatt_attr *attr, uint16_t value)
{
    mse_boot_input_rep_notif_enabled = (value == BT_GATT_CCC_NOTIFY) ? true : false;
}

static void s_mse_input_rep_ccc_changed(const struct bt_gatt_attr *attr, uint16_t value)
{
    mse_input_rep_notif_enabled = (value == BT_GATT_CCC_NOTIFY) ? true : false;
}

static ssize_t s_write_ctrl_point(struct bt_conn *conn,
                                  const struct bt_gatt_attr *attr,
                                  const void *buf, uint16_t len, uint16_t offset,
                                  uint8_t flags)
{
    uint8_t *const ctrl_point_ref = (uint8_t *const)&ctrl_point;
    const uint8_t new_ctrl_pnt = *((const uint8_t *)buf);

    /* Validate flags */
    if (!(flags & BT_GATT_WRITE_FLAG_CMD))
    {
        /* Only write without response accepted */
        return BT_GATT_ERR(BT_ATT_ERR_WRITE_REQ_REJECTED);
    }

    /* Validate length */
    if ((offset + len) > sizeof(ctrl_point))
    {
        return BT_GATT_ERR(BT_ATT_ERR_INVALID_OFFSET);
    }

    /* Validate value */
    if (new_ctrl_pnt >= HIDS_CONTROL_POINT_N)
    {
        return BT_GATT_ERR(BT_ATT_ERR_NOT_SUPPORTED);
    }

    memcpy(ctrl_point_ref + offset, buf, len);

    return len;
}

static ssize_t s_write_prot_mode(struct bt_conn *conn,
                                 const struct bt_gatt_attr *attr,
                                 const void *buf, uint16_t len, uint16_t offset,
                                 uint8_t flags)
{
    uint8_t *const prot_mode_ref = (uint8_t *const)&prot_mode;
    const ble_hids_prot_mode_t newPm = *((const ble_hids_prot_mode_t *)buf);

    /* Validate flags */
    if (!(flags & BT_GATT_WRITE_FLAG_CMD))
    {
        /* Only write without response accepted */
        return BT_GATT_ERR(BT_ATT_ERR_WRITE_REQ_REJECTED);
    }

    /* Validate length */
    if ((offset + len) > sizeof(prot_mode))
    {
        return BT_GATT_ERR(BT_ATT_ERR_INVALID_OFFSET);
    }

    /* Validate value received */
    if (newPm >= BLE_HIDS_PM_N)
    {
        return BT_GATT_ERR(BT_ATT_ERR_NOT_SUPPORTED);
    }

    memcpy(prot_mode_ref + offset, buf, len);

    return len;
}

/* HID Service Definition */
BT_GATT_SERVICE_DEFINE(ble_svc,

                       BT_GATT_PRIMARY_SERVICE(BT_UUID_HIDS),

                       /* Information Characteristic */
                       BT_GATT_CHARACTERISTIC(BT_UUID_HIDS_INFO,
                                              BT_GATT_CHRC_READ,
                                              BT_GATT_PERM_READ_ENCRYPT,
                                              s_read_info, NULL, NULL),

                       /* Control Point Characteristic */
                       BT_GATT_CHARACTERISTIC(BT_UUID_HIDS_CTRL_POINT,
                                              BT_GATT_CHRC_WRITE_WITHOUT_RESP,
                                              BT_GATT_PERM_WRITE_ENCRYPT,
                                              NULL, s_write_ctrl_point, NULL),

                       /* Report Map Characteristic */
                       BT_GATT_CHARACTERISTIC(BT_UUID_HIDS_REPORT_MAP,
                                              BT_GATT_CHRC_READ,
                                              BT_GATT_PERM_READ_ENCRYPT,
                                              s_read_report_map, NULL, NULL),

                       /* Protocol Mode Characteristic */
                       BT_GATT_CHARACTERISTIC(BT_UUID_HIDS_PROTOCOL_MODE,
                                              BT_GATT_CHRC_READ |
                                                  BT_GATT_CHRC_WRITE_WITHOUT_RESP,
                                              BT_GATT_PERM_READ_ENCRYPT |
                                                  BT_GATT_PERM_WRITE_ENCRYPT,
                                              s_read_prot_mode, s_write_prot_mode, NULL),

                       /* Boot Mouse Input Report Characteristic */
                       BT_GATT_CHARACTERISTIC(BT_UUID_HIDS_BOOT_MOUSE_IN_REPORT,
                                              BT_GATT_CHRC_READ | BT_GATT_CHRC_NOTIFY,
                                              BT_GATT_PERM_READ_ENCRYPT,
                                              s_read_report, NULL,
                                              (hids_report_info_t *)&mse_boot_input_rep_info),
                       BT_GATT_CCC(s_mse_boot_input_rep_ccc_changed,
                                   BT_GATT_PERM_READ | BT_GATT_PERM_WRITE_ENCRYPT),

                       /* Mouse Input Report Characteristic (+ descriptor) */
                       BT_GATT_CHARACTERISTIC(BT_UUID_HIDS_REPORT,
                                              BT_GATT_CHRC_READ | BT_GATT_CHRC_NOTIFY,
                                              BT_GATT_PERM_READ_ENCRYPT,
                                              s_read_report, NULL,
                                              (hids_report_info_t *)&mse_input_rep_info),
                       BT_GATT_CCC(s_mse_input_rep_ccc_changed,
                                   BT_GATT_PERM_READ | BT_GATT_PERM_WRITE_ENCRYPT),
                       BT_GATT_DESCRIPTOR(BT_UUID_HIDS_REPORT_REF,
                                          BT_GATT_PERM_READ,
                                          s_read_report_desc, NULL,
                                          (hids_report_desc_t *)&mse_input_desc), );

void ble_hids_connected(struct bt_conn *conn)
{
    active_conn = conn;

    /* Set Protocol Mode back to default (Report), as dictated by the spec */
    prot_mode = BLE_HIDS_PM_REPORT;
}

void ble_hids_disconnected(void)
{
    active_conn = NULL;
}

ble_hids_prot_mode_t ble_hids_get_prot_mode(void)
{
    return prot_mode;
}

bool ble_hids_is_mouse_report_writable(void)
{
    /* Return false if connection is still not encrypted */
    if ((active_conn == NULL) || (bt_conn_get_security(active_conn) < BT_SECURITY_L2))
    {
        printk("Connection is not encrypted, mouse report is not writable\n");
        return false;
    }

    if (prot_mode == BLE_HIDS_PM_BOOT)
    {
        printk("Boot Protocol Mode PM BOOT is active, mouse report is writable\n");
        return mse_boot_input_rep_notif_enabled;
    }
    else
    {
        printk("Report Protocol Mode is active, mouse report is writable, ccc is %d\n", mse_input_rep_notif_enabled);
        return mse_input_rep_notif_enabled;
    }
}

void ble_hids_mouse_notify_input(const void *data, uint8_t dataLen)
{
    __ASSERT_NO_MSG(dataLen == sizeof(mse_input_report));
    __ASSERT_NO_MSG(mse_input_rep_notif_enabled);
    __ASSERT_NO_MSG(bt_conn_get_security(active_conn) >= BT_SECURITY_L2);

    int err;
    struct bt_gatt_notify_params params = {0};

    memcpy(mse_input_report, data, dataLen);

    params.uuid = BT_UUID_HIDS_REPORT;
    params.data = data;
    params.len = dataLen;
    params.func = NULL;

    printk("Sending mouse notification: buttons %02x, move_x %d, move_y %d, scroll_v %d\n",
           ((ble_hids_report_mouse_t *)data)->buttons_bitmask,
           ((ble_hids_report_mouse_t *)data)->move_x_lsb |
               (((ble_hids_report_mouse_t *)data)->move_x_msb << 8),
           ((ble_hids_report_mouse_t *)data)->move_y_lsb |
               (((ble_hids_report_mouse_t *)data)->move_y_msb << 8),
           ((ble_hids_report_mouse_t *)data)->scroll_v);
    err = bt_gatt_notify_cb(active_conn, &params);
}

void ble_hids_mouse_notify_boot(const void *data, uint8_t dataLen)
{
    __ASSERT_NO_MSG(dataLen == sizeof(mse_boot_input_report));
    __ASSERT_NO_MSG(mse_boot_input_rep_notif_enabled);
    __ASSERT_NO_MSG(bt_conn_get_security(active_conn) >= BT_SECURITY_L2);

    int err;
    struct bt_gatt_notify_params params = {0};

    memcpy(mse_boot_input_report, data, dataLen);

    params.uuid = BT_UUID_HIDS_BOOT_MOUSE_IN_REPORT;
    params.data = data;
    params.len = dataLen;
    params.func = NULL;

    printk("Sending boot mouse notification: buttons %02x, move_x %d, move_y %d, scroll_v %d\n",
           ((ble_hids_report_mouse_boot_t *)data)->buttons_bitmask,
           ((ble_hids_report_mouse_boot_t *)data)->move_x,
           ((ble_hids_report_mouse_boot_t *)data)->move_y,
           ((ble_hids_report_mouse_boot_t *)data)->scroll_v);
    err = bt_gatt_notify_cb(active_conn, &params);
}

static inline uint8_t mouse_buttons_mask(bool left, bool right, bool middle, bool back, bool forward)
{
    uint8_t mask = 0;

    if (left)
    {
        mask |= 1 << 0;
    } // Button 1
    if (right)
    {
        mask |= 1 << 1;
    } // Button 2
    if (middle)
    {
        mask |= 1 << 2;
    } // Button 3
    if (back)
    {
        mask |= 1 << 3;
    } // Button 4
    if (forward)
    {
        mask |= 1 << 4;
    } // Button 5

    return mask;
}

void ble_hids_send_mouse_notification(bool left, bool right, bool mid, bool forward, bool backward, int16_t move_x, int16_t move_y, int8_t scroll_v)
{
    ble_hids_prot_mode_t currProtMode = ble_hids_get_prot_mode();
    printk("currProtMode = %d\n", currProtMode);

    uint8_t buttons_bitmask = mouse_buttons_mask(left, right, mid, backward, forward);

    if (ble_hids_is_mouse_report_writable())
    {
        if (BLE_HIDS_PM_REPORT == currProtMode)
        {
            printk("Sending mouse report: buttons %02x, move_x %d, move_y %d, scroll_v %d\n",
                   buttons_bitmask, move_x, move_y, scroll_v);
            ble_hids_report_mouse_t mse_report =
                {
                    .buttons_bitmask = buttons_bitmask,
                    .move_x_lsb = (uint8_t)move_x,
                    .move_x_msb = (uint8_t)(move_x >> 8) & 0xFF,
                    .move_y_lsb = (uint8_t)move_y,
                    .move_y_msb = (uint8_t)(move_y >> 8) & 0xFF,
                    .scroll_v = scroll_v};

            ble_hids_mouse_notify_input(&mse_report, sizeof(ble_hids_report_mouse_t));
        }
        else if (BLE_HIDS_PM_BOOT == currProtMode)
        {
            printk("Sending boot mouse report: buttons %02x, move_x %d, move_y %d, scroll_v %d\n",
                   buttons_bitmask, move_x, move_y, scroll_v);
            ble_hids_report_mouse_boot_t mse_boot_report =
                {
                    .buttons_bitmask = buttons_bitmask,
                    .move_x = move_x, /* implicit cast to 8 bits */
                    .move_y = move_y, /* implicit cast to 8 bits */
                    .scroll_v = scroll_v};

            ble_hids_mouse_notify_boot(&mse_boot_report, sizeof(ble_hids_report_mouse_boot_t));
        }
    }
}

#define STEP_SIZE 10  // pixels per step
#define STEP_COUNT 20 // number of steps per side
#define DELAY_MS 20   // delay between moves

void ble_hids_test_mouse_square(void)
{
    int i;

    /* Move right */
    for (i = 0; i < STEP_COUNT; i++)
    {
        ble_hids_send_mouse_notification(0, 0, 0, 0, 0, STEP_SIZE, 0, 0);
        k_msleep(DELAY_MS);
    }

    /* Move down */
    for (i = 0; i < STEP_COUNT; i++)
    {
        ble_hids_send_mouse_notification(0, 0, 0, 0, 0, 0, STEP_SIZE, 0);
        k_msleep(DELAY_MS);
    }

    /* Move left */
    for (i = 0; i < STEP_COUNT; i++)
    {
        ble_hids_send_mouse_notification(0, 0, 0, 0, 0, -STEP_SIZE, 0, 0);
        k_msleep(DELAY_MS);
    }

    /* Move up */
    for (i = 0; i < STEP_COUNT; i++)
    {
        ble_hids_send_mouse_notification(0, 0, 0, 0, 0, 0, -STEP_SIZE, 0);
        k_msleep(DELAY_MS);
    }
}
```

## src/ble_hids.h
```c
#ifndef SIMPLEMOUSE_HIDS_H
#define SIMPLEMOUSE_HIDS_H

#ifdef __cplusplus
extern "C"
{
#endif

#include <zephyr/bluetooth/conn.h>

#include "ble_hids_def.h"

    void ble_hids_connected(struct bt_conn *conn);
    void ble_hids_disconnected(void);

    ble_hids_prot_mode_t ble_hids_get_prot_mode(void);

    bool ble_hids_is_mouse_report_writable(void);
    void ble_hids_mouse_notify_input(const void *data, uint8_t dataLen);
    void ble_hids_mouse_notify_boot(const void *data, uint8_t dataLen);
    void ble_hids_send_mouse_notification(bool left, bool right, bool mid, bool forward, bool backward, int16_t move_x, int16_t move_y, int8_t scroll_v);

    void ble_hids_test_mouse_square(void);

#ifdef __cplusplus
}
#endif

#endif /* SIMPLEMOUSE_HIDS_H */
```

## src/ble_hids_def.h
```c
#ifndef SIMPLEMOUSE_HIDS_DEF_H
#define SIMPLEMOUSE_HIDS_DEF_H

#ifdef __cplusplus
extern "C"
{
#endif

#include <stdint.h>

    /* Protocol Mode */
    enum
    {
        BLE_HIDS_PM_BOOT = 0x00,
        BLE_HIDS_PM_REPORT = 0x01,

        BLE_HIDS_PM_N
    };
    typedef uint8_t ble_hids_prot_mode_t;

    /*
    ** --------------------------------------------------------
    ** Mouse reports descriptor (custom and boot).
    ** NOTE: these are the packed structs being sent over-the-air
    ** --------------------------------------------------------
    */

    /* Mouse Input Report format is defined according to the Report Map characteristic:
     *  8 bits - pressed buttons bitmask (2 LSB used + 6 MSB padding)
     *  16 bits - x movement
     *  16 bits - y movement
     *  8 bits - vertical wheel rotation (device specific)
     */
    typedef struct
    {
        uint8_t buttons_bitmask;
        uint8_t move_x_lsb;
        uint8_t move_x_msb;
        uint8_t move_y_lsb;
        uint8_t move_y_msb;
        uint8_t scroll_v;
    } __packed ble_hids_report_mouse_t;

    /* Boot Report is fixed to 4 bytes and CANNOT be modified:
     *  8 bits - pressed buttons bitmask
     *  8 bits - x movement
     *  8 bits - y movement
     *  8 bits - vertical wheel rotation (device specific)
     */
    typedef struct
    {
        uint8_t buttons_bitmask;
        int8_t move_x;
        int8_t move_y;
        int8_t scroll_v;

    } __packed ble_hids_report_mouse_boot_t;

#ifdef __cplusplus
}
#endif

#endif /* SIMPLEMOUSE_HIDS_DEF_H */
```

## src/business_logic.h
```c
#ifndef BUSINESS_LOGIC_H
#define BUSINESS_LOGIC_H

#define UPDATE_RATE 125

void polling_init();
void polling_run(void);

#endif
```

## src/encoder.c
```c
#include "encoder.h"
#include <zephyr/kernel.h>

#define SCROLL_A_NODE DT_ALIAS(scrolla)
#define SCROLL_B_NODE DT_ALIAS(scrollb)
#define SCROLL_BTN_NODE DT_ALIAS(scrollbtn)

static const struct gpio_dt_spec scroll_a = GPIO_DT_SPEC_GET_OR(SCROLL_A_NODE, gpios, {0});
static const struct gpio_dt_spec scroll_b = GPIO_DT_SPEC_GET_OR(SCROLL_B_NODE, gpios, {0});
static const struct gpio_dt_spec scroll_btn = GPIO_DT_SPEC_GET_OR(SCROLL_BTN_NODE, gpios, {0});

static struct gpio_callback scroll_a_cb;
static struct gpio_callback scroll_b_cb;
static struct gpio_callback btn_cb;

static volatile int scroll_delta = 0;
static volatile bool button_pressed = false;
static int last_a = 0;
static int last_b = 0;

#include <zephyr/kernel.h>

#define DEBOUNCE_MS 20
static struct k_work_delayable debounce_work;

static void update_scroll_direction(void)
{
    int a = gpio_pin_get_dt(&scroll_a);
    int b = gpio_pin_get_dt(&scroll_b);

    // Gray code decoding
    if ((last_a == 0 && last_b == 0 && a == 1 && b == 0) ||
        (last_a == 1 && last_b == 1 && a == 0 && b == 1) ||
        (last_a == 1 && last_b == 0 && a == 1 && b == 1) ||
        (last_a == 0 && last_b == 1 && a == 0 && b == 0))
    {
        scroll_delta++;
    }
    else if (
        (last_a == 0 && last_b == 0 && a == 0 && b == 1) ||
        (last_a == 1 && last_b == 1 && a == 1 && b == 0) ||
        (last_a == 1 && last_b == 0 && a == 0 && b == 0) ||
        (last_a == 0 && last_b == 1 && a == 1 && b == 1))
    {
        scroll_delta--;
    }

    last_a = a;
    last_b = b;
}

static void scroll_a_isr(const struct device *dev, struct gpio_callback *cb, uint32_t pins)
{
    update_scroll_direction();
}

static void scroll_b_isr(const struct device *dev, struct gpio_callback *cb, uint32_t pins)
{
    update_scroll_direction();
}

static void debounce_btn(struct k_work *work)
{
    button_pressed = (gpio_pin_get_dt(&scroll_btn) == 0); // active low
}

static void btn_isr(const struct device *dev, struct gpio_callback *cb, uint32_t pins)
{
    if (pins & BIT(scroll_btn.pin))
    {
        k_work_schedule(&debounce_work, K_MSEC(DEBOUNCE_MS));
    }
}

int encoder_get_scroll_delta(void)
{
    int delta = scroll_delta;
    scroll_delta = 0;
    return delta;
}

bool encoder_get_button_state(void)
{
    return button_pressed;
}

int encoder_init(void)
{
    int ret;

    if (!device_is_ready(scroll_a.port) || !device_is_ready(scroll_b.port))
    {
        printk("Scroll encoder GPIO devices not ready\n");
        return -ENODEV;
    }

    if (!device_is_ready(scroll_btn.port))
    {
        printk("Scroll switch GPIO devices not ready\n");
        return -ENODEV;
    }
    ret = gpio_pin_configure_dt(&scroll_a, GPIO_INPUT);
    if (ret)
    {
        printk("Failed to configure scroll A GPIO: %d\n", ret);
        return ret;
    }
    ret = gpio_pin_configure_dt(&scroll_b, GPIO_INPUT);
    if (ret)
    {
        printk("Failed to configure scroll B GPIO: %d\n", ret);
        return ret;
    }
    ret = gpio_pin_configure_dt(&scroll_btn, GPIO_INPUT | GPIO_PULL_UP);
    if (ret)
    {
        printk("Failed to configure scroll button GPIO: %d\n", ret);
        return ret;
    }
    // Save initial state
    last_a = gpio_pin_get_dt(&scroll_a);
    last_b = gpio_pin_get_dt(&scroll_b);

    // Interrupts for scroll A and B
    ret = gpio_pin_interrupt_configure_dt(&scroll_a, GPIO_INT_EDGE_BOTH);
    if (ret)
    {
        printk("Failed to configure scroll A interrupt: %d\n", ret);
        return ret;
    }
    gpio_init_callback(&scroll_a_cb, scroll_a_isr, BIT(scroll_a.pin));
    gpio_add_callback(scroll_a.port, &scroll_a_cb);

    ret = gpio_pin_interrupt_configure_dt(&scroll_b, GPIO_INT_EDGE_BOTH);
    if (ret)
    {
        printk("Failed to configure scroll B interrupt: %d\n", ret);
        return ret;
    }
    gpio_init_callback(&scroll_b_cb, scroll_b_isr, BIT(scroll_b.pin));
    gpio_add_callback(scroll_b.port, &scroll_b_cb);

    // Interrupt for scroll button (center click)
    k_work_init_delayable(&debounce_work, debounce_btn);

    ret = gpio_pin_interrupt_configure_dt(&scroll_btn, GPIO_INT_EDGE_BOTH);
    if (ret)
    {
        printk("Failed to configure scroll button interrupt: %d\n", ret);
        return ret;
    }
    gpio_init_callback(&btn_cb, btn_isr, BIT(scroll_btn.pin));
    gpio_add_callback(scroll_btn.port, &btn_cb);

    return 0;
}
```

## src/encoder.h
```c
#pragma once

#include <zephyr/device.h>
#include <zephyr/drivers/gpio.h>

int encoder_init(void);
int encoder_get_scroll_delta(void);
bool encoder_get_button_state(void);
```
